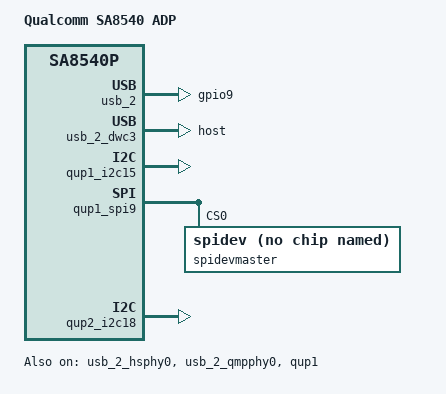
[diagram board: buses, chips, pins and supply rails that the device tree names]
// SPDX-License-Identifier: BSD-3-Clause
/*
 * Copyright (c) 2021, The Linux Foundation. All rights reserved.
 * Copyright (c) 2022, Linaro Limited
 * Copyright (c) 2022, Qualcomm Innovation Center, Inc. All rights reserved.
 */

/dts-v1/;

#include "sa8540p-adp.dtsi"

/ {
	model = "Qualcomm SA8540 ADP";
	compatible = "qcom,sa8540p-adp-ride", "qcom,sa8540p";

	aliases {
		spi9 = &qup1_spi9;
		i2c15 = &qup1_i2c15;
		i2c18 = &qup2_i2c18;
	};
};

&ufs_card_hc {
	/* Currently broken on this board */
	status = "disabled";
};

&usb_2 {
	status = "okay";

	pinctrl-names = "default";
	pinctrl-0 = <&usb2_en_state>;
};

&usb_2_dwc3 {
	dr_mode = "host";
};

&usb_2_hsphy0 {
	status = "okay";

	vdda-pll-supply = <&vreg_l5a>;
	vdda18-supply = <&vreg_l7g>;
	vdda33-supply = <&vreg_l13a>;
};

&usb_2_qmpphy0 {
	status = "okay";

	vdda-phy-supply = <&vreg_l3a>;
	vdda-pll-supply = <&vreg_l5a>;
};

&qup1 {
	status = "okay";
};

&qup1_i2c15 {
	status = "okay";
};

&qup1_spi9 {
	status = "okay";

	spidevmaster@0 {
		compatible = "qcom,spidev";
		reg = <0>;
		status = "okay";
	};
};

&qup2_i2c18 {
	status = "okay";
};

/* PINCTRL */
&pm8450c_gpios {
	usb2_en_state: usb2-en-state {
		pins = "gpio9";
		function = "normal";
		output-high;
		power-source = <0>;
	};
};
